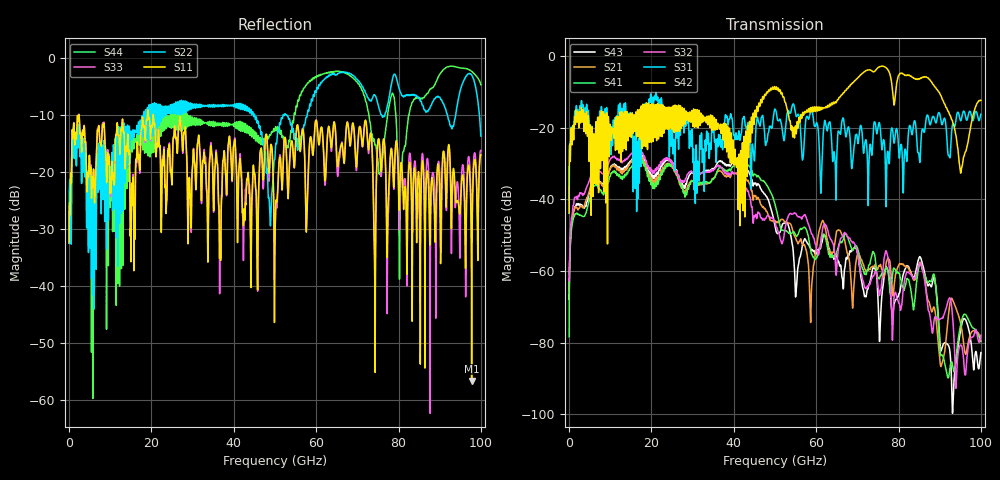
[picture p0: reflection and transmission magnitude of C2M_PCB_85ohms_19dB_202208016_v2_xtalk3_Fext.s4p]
! Info: Touchstone file created by Circ.  Input file=Intel_C2M_200G_6p5in_202208016_staggered.circ
# Hz S RI R 50
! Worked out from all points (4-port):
!   10000 points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, 10 MHz to 100 GHz, reference 50 ohm
!   strongest paths, dB at 10 MHz, 25.01 GHz, 50.01 GHz, 75.01 GHz, 100 GHz:
!     S42: -43.8, -17.3, -9.0, -3.3, -12.4
!     S31: -43.9, -19.0, -14.8, -19.8, -16.2
!     S32: -62.3, -30.2, -46.5, -64.3, -77.9
!     S41: -78.3, -30.8, -41.3, -62.0, -79.7
!     S21: -65.4, -30.9, -46.1, -59.2, -79.4
!     S43: -67.9, -30.0, -47.4, -67.8, -82.8
!   lowest |S11| = -56.6 dB at 97.76 GHz (marker M1), VSWR 1.00, Z = 50.1 - j0.0533 ohm
!   |S11| at or under -10 dB: start of sweep to 2.359 GHz; 2.431 GHz to 19.01 GHz (16.58 GHz wide, 155 % of centre); 20.47 GHz to end of sweep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
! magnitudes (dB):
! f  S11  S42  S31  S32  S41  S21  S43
! 10 MHz  -32.3  -43.8  -43.9  -62.3  -78.3  -65.4  -67.9
! 6.19 GHz  -25.4  -24.4  -25.2  -31.6  -36.2  -34.3  -34.3
! 40.82 GHz  -28.7  -28.6  -22.5  -32.9  -30.0  -32.6  -29.4
! 58.7 GHz  -13.8  -14.6  -15.3  -49.0  -54.4  -73.2  -53.8
! 75.75 GHz  -19.8  -2.9  -22.8  -65.0  -61.3  -58.8  -70.4
! 97.76 GHz  -56.6  -18.4  -17.0  -78.5  -75.4  -77.0  -81.4
! 100 GHz  -16.9  -12.4  -16.2  -77.9  -79.7  -79.4  -82.8
